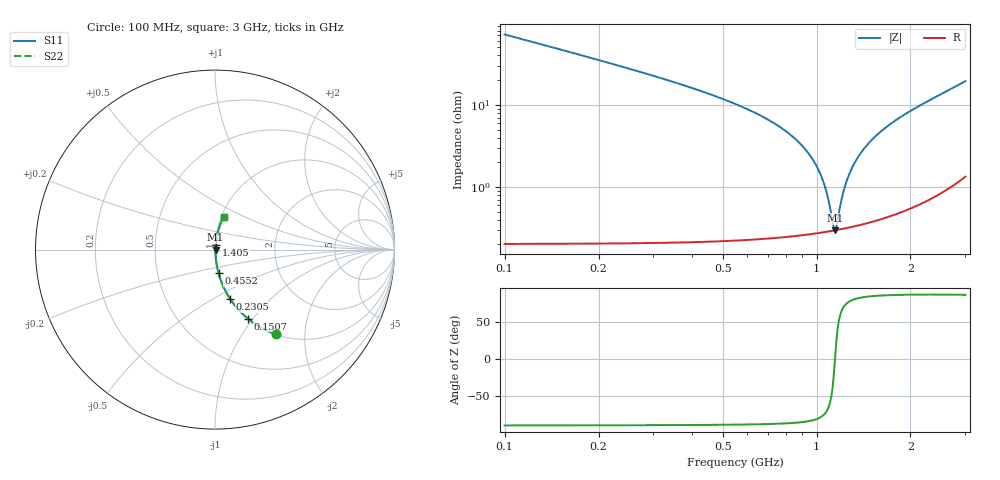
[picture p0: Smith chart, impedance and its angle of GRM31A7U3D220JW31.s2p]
!Murata Part Number: GRM31A7U3D220JW31
!These Parameters are Measured in Series Mode Connection
!Data Generated on Mar 30, 2021
!  o--ll--o
!Port1  Port2
!  o------o
!Operation Temp=25[degC], DC Bias Voltage=0[V]
!Freq. Start=100[MHz] Stop=3[GHz] 401[Steps]
# Hz S RI R 50
!Freq.(Hz) S11(Real) S11(Imag) S21(Real) S21(Imag) S12(Real) S12(Imag) S22(Real) S22(Imag)
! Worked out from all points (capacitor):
!   401 points, 100 MHz to 3 GHz, reference 50 ohm
!   read as one part in series: C = 22 pF near 114.5 MHz
!   lowest |Z| = 297 mohm at 1.144 GHz (marker M1)
!   series resonance near 1.146 GHz, so ESL is about 880 pH
!   S11 on the Smith chart (normalised r, x): 100 MHz: 1.00, -1.44; 150.8 MHz: 1.00, -0.94; 230.5 MHz: 1.00, -0.60; 455.2 MHz: 1.00, -0.27; 1.405 GHz: 1.01, +0.06; 3 GHz: 1.03, +0.39
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1e8  0.3407 -0.4725  0.6593 0.4725  0.6593 0.4725  0.3407 -0.4725
1.5075e8  0.1832 -0.3847  0.8168 0.3847  0.8168 0.3847  0.1832 -0.3847
2.305e8  0.085 -0.2754  0.915 0.2754  0.915 0.2754  0.085 -0.2754
3.2475e8  0.0424 -0.1964  0.9576 0.1964  0.9576 0.1964  0.0424 -0.1964
4.5525e8  0.0199 -0.1317  0.9801 0.1317  0.9801 0.1317  0.0199 -0.1317
5.8575e8  0.0106 -0.091  0.9894 0.091  0.9894 0.091  0.0106 -0.091
7.815e8  0.00496 -0.0501  0.995 0.0501  0.995 0.0501  0.00496 -0.0501
9.12e8  0.00348 -0.0296  0.9965 0.0296  0.9965 0.0296  0.00348 -0.0296
1.00625e9  0.00302 -0.0169  0.997 0.0169  0.997 0.0169  0.00302 -0.0169
1.0715e9  0.00291 -0.00874  0.9971 0.00874  0.9971 0.00874  0.00291 -0.00874
1.1295e9  0.00293 -0.00189  0.9971 0.00189  0.9971 0.00189  0.00293 -0.00189
1.144e9  0.00296 -0.000223  0.997 0.000223  0.997 0.000223  0.00296 -0.000223
1.1585e9  0.00298 0.00142  0.997 -0.00142  0.997 -0.00142  0.00298 0.00142
1.20925e9  0.00313 0.00706  0.9969 -0.00706  0.9969 -0.00706  0.00313 0.00706
1.26e9  0.00333 0.0125  0.9967 -0.0125  0.9967 -0.0125  0.00333 0.0125
1.32525e9  0.00369 0.0193  0.9963 -0.0193  0.9963 -0.0193  0.00369 0.0193
1.405e9  0.00424 0.0273  0.9958 -0.0273  0.9958 -0.0273  0.00424 0.0273
1.55e9  0.00558 0.0413  0.9944 -0.0413  0.9944 -0.0413  0.00558 0.0413
1.76025e9  0.00824 0.0608  0.9918 -0.0608  0.9918 -0.0608  0.00824 0.0608
2.03575e9  0.0131 0.0859  0.9869 -0.0859  0.9869 -0.0859  0.0131 0.0859
2.5215e9  0.0262 0.1315  0.9738 -0.1315  0.9738 -0.1315  0.0262 0.1315
3e9  0.0478 0.1817  0.9522 -0.1817  0.9522 -0.1817  0.0478 0.1817
